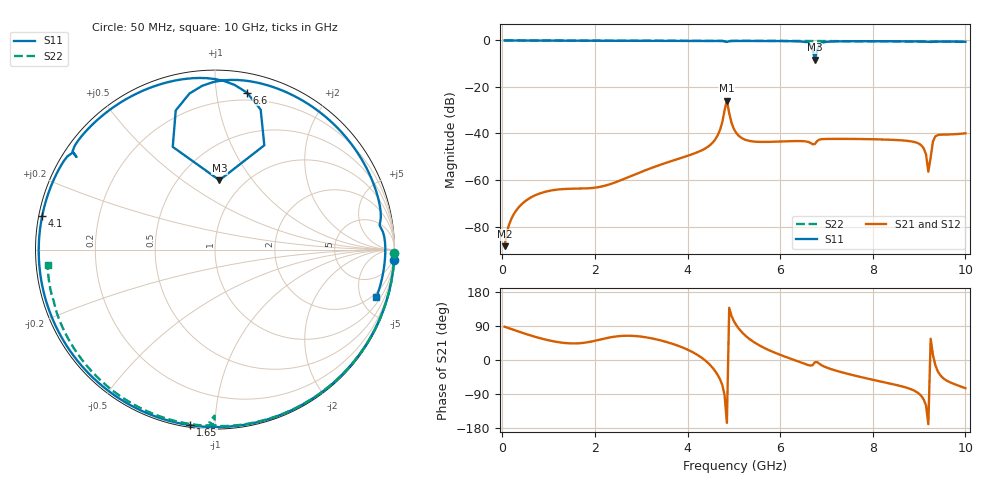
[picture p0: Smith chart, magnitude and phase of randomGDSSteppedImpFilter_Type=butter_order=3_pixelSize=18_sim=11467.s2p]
! freq	dB(S11)	phase(S11)	dB(S12)	phase(S12)
!  dB(S21)	phase(S21)	dB(S22)	phase(S22)
!S-par simulation data
#  GHz  S  DB  R 50
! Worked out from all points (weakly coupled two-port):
!   200 points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, 50 MHz to 10 GHz, reference 50 ohm
!   highest |S21| = -25.84 dB at 4.85 GHz (marker M1); lowest = -88.5 dB at 50 MHz (marker M2)
!   lowest |S11| = -8.2 dB at 6.75 GHz (marker M3), VSWR 2.26, Z = 38.6 + j35.1 ohm
!   |S11| at or under -10 dB: nowhere
!   |S22| runs from -0.7 to 0.0 dB; largest |S21 - S12| = 0
!   S11 on the Smith chart (normalised r, x): 50 MHz: 0, -34; 1.65 GHz: 0.01, -0.87; 4.1 GHz: 0.01, +0.10; 6.6 GHz: 0.14, +1.21; 10 GHz: 1.51, -6.62
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0.05  -0.00 -3.4  -88.46 87.8  -88.46 87.8  -0.00 -1.0
0.65  -0.06 -42.3  -67.16 63.3  -67.16 63.3  -0.02 -13.0
1.65  -0.10 -98.1  -63.71 44.1  -63.71 44.1  -0.04 -32.7
1.75  -0.11 -102.9  -63.67 45.2  -63.67 45.2  -0.04 -34.6
3.4  -0.15 -168.2  -53.54 52.4  -53.54 52.4  -0.09 -65.6
4.1  -0.17 168.9  -48.93 21.3  -48.93 21.3  -0.11 -78.1
4.6  -0.19 152.9  -42.49 -29.9  -42.49 -29.9  -0.14 -87.1
4.85  -0.65 146.2  -25.84 -165.8  -25.84 -165.8  -0.68 -90.1
5.05  -0.21 139.9  -39.70 92.5  -39.70 92.5  -0.16 -93.7
6.6  -0.99 78.5  -43.59 -13.1  -43.59 -13.1  -0.23 -119.6
6.7  -3.84 64.7  -44.62 -13.7  -44.62 -13.7  -0.24 -121.2
6.75  -8.24 86.4  -44.54 -5.9  -44.54 -5.9  -0.24 -122.0
6.8  -4.17 112.4  -43.20 -5.4  -43.20 -5.4  -0.24 -122.8
6.9  -1.10 99.3  -42.44 -14.1  -42.44 -14.1  -0.25 -124.4
7.05  -0.51 87.6  -42.34 -22.0  -42.34 -22.0  -0.26 -126.8
8.35  -0.35 38.5  -42.68 -61.5  -42.68 -61.5  -0.38 -147.6
9.05  -0.45 14.5  -45.12 -95.2  -45.12 -95.2  -0.46 -159.0
9.15  -0.52 11.1  -49.03 -120.2  -49.03 -120.2  -0.48 -160.7
9.2  -0.60 9.5  -56.45 -169.4  -56.45 -169.4  -0.49 -161.5
9.3  -0.62 7.5  -43.42 12.8  -43.42 12.8  -0.51 -162.9
9.35  -0.53 6.1  -41.29 -13.2  -41.29 -13.2  -0.50 -163.8
10  -0.56 -16.4  -39.91 -74.5  -39.91 -74.5  -0.57 -174.9
